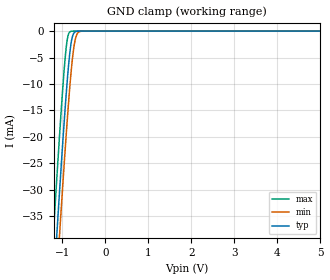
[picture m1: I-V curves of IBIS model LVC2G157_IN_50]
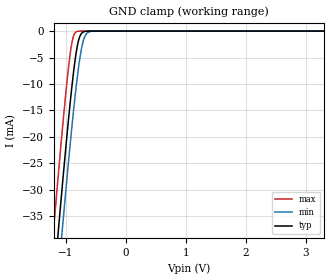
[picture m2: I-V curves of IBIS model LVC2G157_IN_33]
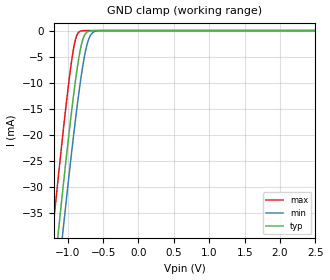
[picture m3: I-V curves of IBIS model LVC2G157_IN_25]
| TEXAS INSTRUMENTS INCORPORATED
| Standard Linear and Logic Group
| IBIS Model of SN74LVC2G157
| SINGLE 2-LINE TO 1-LINE DATA SELECTOR/MULTIPLEXER
| This file contains package information for the following:
|  SSOP 8-pin (DCT) package as [Component] LVC2G157_DCT
|  VSSOP 8-pin (DCU) package as [Component] LVC2G157_DCU
|  NanoStar WCSP 8-pin (YEA) package as [Component] LVC2G157_YEA
|  NanoFree WCSP 8-pin (YZA) package as [Component] LVC2G157_YZA
|  NanoStar WCSP 8-pin (YEP) package as [Component] LVC2G157_YEP
|  NanoFree WCSP 8-pin (YZP) package as [Component] LVC2G157_YZP
| This device can be powered at the following Vccs:
|  5 volt Vcc
|  3.3 volt Vcc
|  2.5 volt Vcc
|  1.8 volt Vcc
| This file provides unique models under the [Model Selector] for each Vcc.
| For operation at a specific Vcc, select the appropriate model after each
| [Model Selector] keyword.
[IBIS Ver]   3.2
[Comment char]  |_char
[File Name]   sn74lvc2g157.ibs
[File Rev]   1.2 | d_die
[Date]   September 03, 2003
[Source]   Data created from TI-SPICE simulations at TI-SLL.
[Notes]   The following is an IBIS list for the SN74LVC2G157.
   Please contact sllibis@ti.com with questions and
   comments concerning SLL IBIS models.
   - C_comp values are taken at a different test condition than
   the Ci in data sheet.
   - Power-clamp data has been deleted since there is no
   power-clamp diode in the device.
[Disclaimer] Property of Texas Instruments Incorporated. Unauthorized
                reproduction and/or distribution is strictly prohibited.
                This product is protected under copyright law.
                Created 2002,(C) Copyright 2002, Texas Instruments
                Incorporated, All Rights Reserved
                UNLESS THERE IS A SIGNED, WRITTEN AGREEMENT TO THE
                CONTRARY, TEXAS INSTRUMENTS (TI) IS PROVIDING THE IBIS
                MODELS AND WITHOUT ANY WARRANTY, EXPRESSED OR
                IMPLIED. TI assumes no liability for:
                 1) the accuracy of the IBIS models provided to your
                    company;
                 2) the proper functioning of these IBIS Models in your
                    design or for any resulting applications; or
                 3) infringement of patents, copyrights or intellectual
                    property rights resulting from your use of these IBIS
                    models.
                TI provides IBIS Models as a service to our customers.
                You and your company shall not distribute, sell or give
                these models to anyone else without prior written
                permission from TI.
                TI reserves the right to make changes to our products or
                to discontinue any semiconductor product or service
                without notice, and advises our customers to obtain the
                latest version of relevant information to verify, before
                placing orders, that the information being relied on is
                current.
                Please be aware that your receipt and use of the IBIS
                information provided shall serve as acceptance of these
                terms and conditions. If you do not accept these terms,
                you should return or destroy the IBIS models and any
                other accompanying information immediately.
| Component LVC2G157_DCT 8-pin SSOP
[Component]   LVC2G157_DCT
[Manufacturer]   Texas Instruments, Inc.
[Package]
|   typ   min   max
R_pkg   2.900e-02   2.800e-02   3.100e-02
L_pkg   1.796e-09   1.666e-09   1.924e-09
C_pkg   1.090e-13   8.300e-14   1.360e-13
[Pin]   signal_name   model_name   R_pin   L_pin   C_pin
1   A   LVC2G157_IN   3.100e-02   1.894e-09   1.340e-13
2   B   LVC2G157_IN   2.800e-02   1.697e-09   8.600e-14
3   NY   LVC2G157_OUT   3.000e-02   1.722e-09   8.600e-14
4   GND   GND   3.000e-02   1.861e-09   1.300e-13
5   Y   LVC2G157_OUT   2.800e-02   1.924e-09   1.360e-13
6   NA_B   LVC2G157_IN   2.900e-02   1.736e-09   8.600e-14
7   NG   LVC2G157_IN   2.800e-02   1.666e-09   8.300e-14
8   VCC   POWER   3.000e-02   1.871e-09   1.320e-13
| Component LVC2G157_DCU 8-pin VSSOP
[Component]   LVC2G157_DCU
[Manufacturer]   Texas Instruments, Inc.
[Package]
|   typ   min   max
R_pkg   1.400e-02   1.300e-02   1.500e-02
L_pkg   1.289e-09   1.025e-09   2.014e-09
C_pkg   1.360e-13   6.600e-14   2.940e-13
[Pin]   signal_name   model_name   R_pin   L_pin   C_pin
1   A   LVC2G157_IN   1.400e-02   1.387e-09   1.760e-13
2   B   LVC2G157_IN   1.300e-02   1.026e-09   6.600e-14
3   NY   LVC2G157_OUT   1.300e-02   1.032e-09   6.700e-14
4   GND   GND   1.500e-02   2.014e-09   2.940e-13
5   Y   LVC2G157_OUT   1.400e-02   1.412e-09   1.780e-13
6   NA_B   LVC2G157_IN   1.300e-02   1.030e-09   6.600e-14
7   NG   LVC2G157_IN   1.300e-02   1.025e-09   6.600e-14
8   VCC   POWER   1.400e-02   1.386e-09   1.760e-13
| Component LVC2G157_YEA 8-pin NanoStar WCSP
[Component]   LVC2G157_YEA
[Manufacturer]   Texas Instruments, Inc.
[Package]
|   typ   min   max
R_pkg   0.001   0.001   0.001
L_pkg   0.021nH   0.021nH   0.021nH
C_pkg   0.043pF   0.042pF   0.044pF
[Pin]   signal_name   model_name   R_pin   L_pin   C_pin
1   A   LVC2G157_IN   0.046   2.861nH   0.321pF
2   B   LVC2G157_IN   0.037   2.437nH   0.286pF
3   NY   LVC2G157_OUT   0.034   2.419nH   0.286pF
4   GND   GND   0.043   2.784nH   0.321pF
5   Y   LVC2G157_OUT   0.043   2.784nH   0.321pF
6   NA_B   LVC2G157_IN   0.035   2.420nH   0.286pF
7   NG   LVC2G157_IN   0.037   2.437nH   0.286pF
8   VCC   POWER   0.046   2.860nH   0.321pF
| Component LVC2G157_YZA 8-pin NanoFree WCSP
[Component]   LVC2G157_YZA
[Manufacturer]   Texas Instruments, Inc.
[Package]
|   typ   min   max
R_pkg   0.001   0.001   0.001
L_pkg   0.021nH   0.021nH   0.021nH
C_pkg   0.043pF   0.042pF   0.044pF
[Pin]   signal_name   model_name   R_pin   L_pin   C_pin
1   A   LVC2G157_IN   0.046   2.861nH   0.321pF
2   B   LVC2G157_IN   0.037   2.437nH   0.286pF
3   NY   LVC2G157_OUT   0.034   2.419nH   0.286pF
4   GND   GND   0.043   2.784nH   0.321pF
5   Y   LVC2G157_OUT   0.043   2.784nH   0.321pF
6   NA_B   LVC2G157_IN   0.035   2.420nH   0.286pF
7   NG   LVC2G157_IN   0.037   2.437nH   0.286pF
8   VCC   POWER   0.046   2.860nH   0.321pF
| Component LVC2G157_YEP 8-pin NanoStar WCSP
[Component]   LVC2G157_YEP
[Manufacturer]   Texas Instruments, Inc.
[Package]
|   typ   min   max
R_pkg   0.001   0.001   0.001
L_pkg   0.021nH   0.021nH   0.021nH
C_pkg   0.043pF   0.042pF   0.044pF
[Pin]   signal_name   model_name   R_pin   L_pin   C_pin
1   A   LVC2G157_IN   0.046   2.861nH   0.321pF
2   B   LVC2G157_IN   0.037   2.437nH   0.286pF
3   NY   LVC2G157_OUT   0.034   2.419nH   0.286pF
4   GND   GND   0.043   2.784nH   0.321pF
5   Y   LVC2G157_OUT   0.043   2.784nH   0.321pF
6   NA_B   LVC2G157_IN   0.035   2.420nH   0.286pF
7   NG   LVC2G157_IN   0.037   2.437nH   0.286pF
8   VCC   POWER   0.046   2.860nH   0.321pF
| Component LVC2G157_YZP 8-pin NanoFree WCSP
[Component]   LVC2G157_YZP
[Manufacturer]   Texas Instruments, Inc.
[Package]
|   typ   min   max
R_pkg   0.001   0.001   0.001
L_pkg   0.021nH   0.021nH   0.021nH
C_pkg   0.043pF   0.042pF   0.044pF
[Pin]   signal_name   model_name   R_pin   L_pin   C_pin
1   A   LVC2G157_IN   0.046   2.861nH   0.321pF
2   B   LVC2G157_IN   0.037   2.437nH   0.286pF
3   NY   LVC2G157_OUT   0.034   2.419nH   0.286pF
4   GND   GND   0.043   2.784nH   0.321pF
5   Y   LVC2G157_OUT   0.043   2.784nH   0.321pF
6   NA_B   LVC2G157_IN   0.035   2.420nH   0.286pF
7   NG   LVC2G157_IN   0.037   2.437nH   0.286pF
8   VCC   POWER   0.046   2.860nH   0.321pF
| Model LVC2G157_IN
[Model Selector]   LVC2G157_IN
LVC2G157_IN_50   5 volt Vcc
LVC2G157_IN_33   3.3 volt Vcc
LVC2G157_IN_25   2.5 volt Vcc
LVC2G157_IN_18   1.8 volt Vcc
| Model LVC2G157_OUT
[Model Selector]   LVC2G157_OUT
LVC2G157_OUT_50   5 volt Vcc
LVC2G157_OUT_33   3.3 volt Vcc
LVC2G157_OUT_25   2.5 volt Vcc
LVC2G157_OUT_18   1.8 volt Vcc
| Models and submodels in the file (8): LVC2G157_IN_50 (Input), LVC2G157_IN_33 (Input), LVC2G157_IN_25 (Input), LVC2G157_IN_18 (Input), LVC2G157_OUT_50 (Output), LVC2G157_OUT_33 (Output), LVC2G157_OUT_25 (Output), LVC2G157_OUT_18 (Output)
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[Model]   LVC2G157_IN_50
Model_type  Input
Vinl=1.35
Vinh=3.85
| variable   typ   min   max
C_comp   3.21pF   2.51pF   4.33pF
[Temperature Range]   40   100   -40
| Ambient temperature   25   85   -40
[Voltage range]   5   4.5   5.5
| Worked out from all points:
|   GND clamp passes 1 mA (typ) near -0.77 V on its own axis
[GND Clamp]
| LVC2G157_IN_50
|   Voltage   I(typ)   I(min)   I(max)
-5V       -583.8mA   -590.8mA   -575.1mA
-1.21V    -48.93mA   -57.22mA   -38.3mA
-1.13V    -38.42mA   -46.71mA   -27.77mA
-1.07V    -30.71mA   -38.96mA   -20.13mA
-1.05V    -28.19mA   -36.42mA   -17.65mA
-915mV    -12.21mA   -19.95mA   -3.333mA
-870mV    -7.651mA   -14.9mA    -891.1uA
-815mV    -3.252mA   -9.299mA   -87.06uA
-770mV    -1.128mA   -5.445mA   -10.73uA
-705mV    -146.7uA   -1.723mA   -505nA
-575mV    -1.597uA   -52.97uA   -1.117nA
5V        9.69pA     12.83pA    9.218pA
[Model]   LVC2G157_IN_33
Model_type  Input
Vinl=0.8
Vinh=2.0
| variable   typ   min   max
C_comp   3.34pF   2.68pF   4.33pF
[Temperature Range]   40   100   -40
| Ambient temperature   25   85   -40
[Voltage range]   3.3   3   3.6
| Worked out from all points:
|   GND clamp passes 1 mA (typ) near -0.77 V on its own axis
[GND Clamp]
| LVC2G157_IN_33
|   Voltage   I(typ)   I(min)   I(max)
-3.3V     -341.5mA   -348.9mA   -332.3mA
-1.215V   -49.6mA    -57.88mA   -38.96mA
-1.185V   -45.62mA   -53.91mA   -34.98mA
-1.125V   -37.77mA   -46.06mA   -27.13mA
-1.065V   -30.08mA   -38.33mA   -19.51mA
-920mV    -12.75mA   -20.53mA   -3.718mA
-875mV    -8.124mA   -15.45mA   -1.065mA
-825mV    -3.922mA   -10.26mA   -137.1uA
-775mV    -1.291mA   -5.83mA    -13.57uA
-715mV    -205.4uA   -2.128mA   -808.5nA
-585mV    -2.266uA   -70.82uA   -1.783nA
3.3V      6.304pA    9.258pA    5.93pA
[Model]   LVC2G157_IN_25
Model_type  Input
Vinl=0.7
Vinh=1.7
| variable   typ   min   max
C_comp   3.42pF   2.81pF   4.39pF
[Temperature Range]   40   100   -40
| Ambient temperature   25   85   -40
[Voltage range]   2.5   2.3   2.7
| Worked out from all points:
|   GND clamp passes 1 mA (typ) near -0.77 V on its own axis
[GND Clamp]
| LVC2G157_IN_25
|   Voltage   I(typ)   I(min)   I(max)
-2.5V     -228.1mA   -235.8mA   -218.5mA
-1.23V    -51.59mA   -59.87mA   -40.97mA
-1.2V     -47.61mA   -55.9mA    -36.97mA
-1.13V    -38.42mA   -46.71mA   -27.77mA
-1.07V    -30.71mA   -38.96mA   -20.13mA
-925mV    -13.29mA   -21.11mA   -4.122mA
-880mV    -8.606mA   -15.99mA   -1.263mA
-830mV    -4.281mA   -10.75mA   -171.6uA
-780mV    -1.472mA   -6.227mA   -17.15uA
-720mV    -242.5uA   -2.354mA   -1.023uA
-600mV    -3.832uA   -109.2uA   -3.608nA
2.5V      4.713pA    7.577pA    4.389pA
